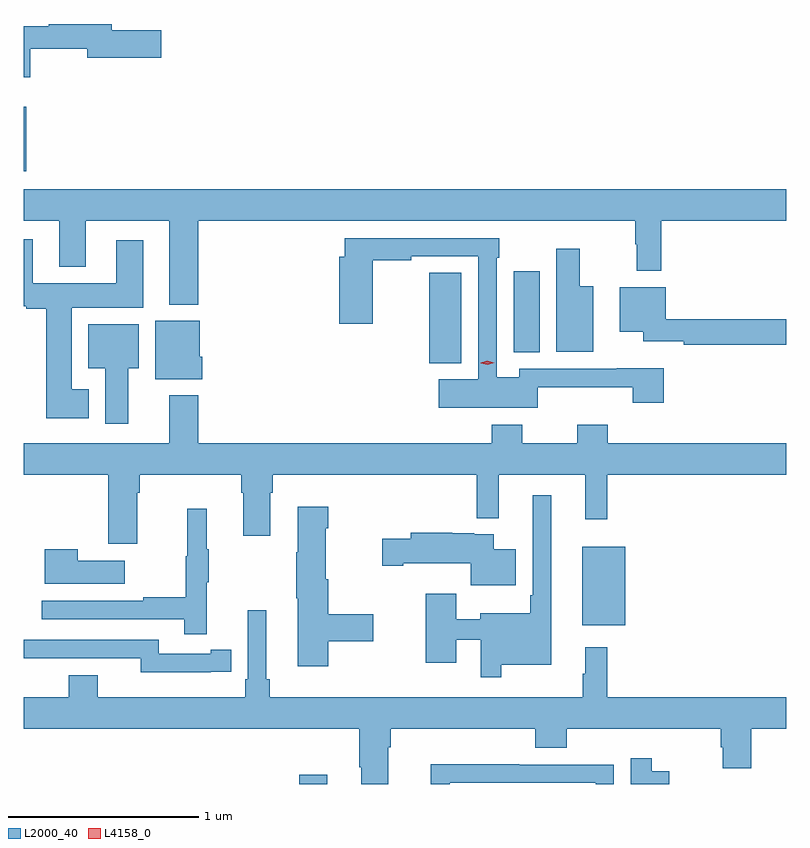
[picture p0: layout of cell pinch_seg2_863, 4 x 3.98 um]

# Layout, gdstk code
import gdstk
lib = gdstk.Library(unit=1e-6, precision=1e-09)
def R(c, l, rs):  # rectangles x0, y0, x1, y1
    for r in rs: c.add(gdstk.rectangle(r[:2], r[2:], *l))
def P(c, l, *ps):  # polygons
    for p in ps: c.add(gdstk.Polygon(p, *l))
L2000_40 = (2000, 40)
L4158_0 = (4158, 0)

pinch_seg2_863 = lib.new_cell('pinch_seg2_863')
R(pinch_seg2_863, L2000_40, [(466.599,602.058,466.747,602.107), (468.083,602.891,468.31,603.301), (467.282,604.265,467.449,604.739), (467.723,604.321,467.86,604.747), (465.154,605.271,465.167,605.608)])
P(pinch_seg2_863, L2000_40, [(465.19,605.914),(465.488,605.914),(465.488,605.867),(465.877,605.867),(465.877,606.009),(465.616,606.009),(465.616,606.043),(465.286,606.043),(465.286,606.03),(465.154,606.03),(465.154,605.765),(465.19,605.765)],
  [(466.07,605.012),(468.361,605.012),(468.361,604.889),(468.369,604.889),(468.369,604.749),(468.497,604.749),(468.497,605.012),(469.154,605.012),(469.154,605.176),(465.154,605.176),(465.154,605.012),(465.341,605.012),(465.341,604.769),(465.481,604.769),(465.481,605.012),(465.917,605.012),(465.917,604.571),(466.07,604.571)],
  [(467.85,604.139),(468.347,604.139),(468.347,604.056),(468.512,604.056),(468.512,604.237),(468.263,604.237),(468.263,604.236),(467.754,604.236),(467.754,604.192),(467.634,604.192),(467.634,604.817),(467.647,604.817),(467.647,604.92),(466.838,604.92),(466.838,604.822),(466.808,604.822),(466.808,604.47),(466.986,604.47),(466.986,604.804),(467.186,604.804),(467.186,604.824),(467.538,604.824),(467.538,604.18),(467.331,604.18),(467.331,604.031),(467.85,604.031)],
  [(465.496,604.129),(465.406,604.129),(465.406,604.556),(465.781,604.556),(465.781,604.909),(465.641,604.909),(465.641,604.684),(465.202,604.684),(465.202,604.915),(465.154,604.915),(465.154,604.562),(465.168,604.562),(465.168,604.55),(465.272,604.55),(465.272,603.977),(465.496,603.977)],
  [(468.142,604.669),(468.07,604.669),(468.07,604.864),(467.948,604.864),(467.948,604.325),(468.142,604.325)],
  [(469.154,604.496),(468.52,604.496),(468.52,604.663),(468.281,604.663),(468.281,604.43),(468.404,604.43),(468.404,604.379),(468.616,604.379),(468.616,604.36),(469.154,604.36)],
  [(466.09,604.299),(466.078,604.299),(466.078,604.486),(465.845,604.486),(465.845,604.181),(466.09,604.181)],
  [(465.703,604.238),(465.757,604.238),(465.757,604.468),(465.494,604.468),(465.494,604.238),(465.581,604.238),(465.581,603.948),(465.703,603.948)],
  [(465.751,603.584),(465.764,603.584),(465.764,603.68),(466.295,603.68),(466.295,603.584),(466.307,603.584),(466.307,603.36),(466.447,603.36),(466.447,603.584),(466.46,603.584),(466.46,603.68),(467.531,603.68),(467.531,603.452),(467.645,603.452),(467.645,603.68),(468.098,603.68),(468.098,603.447),(468.215,603.447),(468.215,603.68),(469.154,603.68),(469.154,603.844),(468.218,603.844),(468.218,603.943),(468.058,603.943),(468.058,603.844),(467.769,603.844),(467.769,603.943),(467.609,603.943),(467.609,603.844),(466.07,603.844),(466.07,604.096),(465.917,604.096),(465.917,603.844),(465.154,603.844),(465.154,603.68),(465.599,603.68),(465.599,603.318),(465.751,603.318)],
  [(467.659,602.684),(467.92,602.684),(467.92,603.571),(467.823,603.571),(467.823,603.049),(467.811,603.049),(467.811,602.953),(467.549,602.953),(467.549,602.923),(467.422,602.923),(467.422,603.055),(467.264,603.055),(467.264,602.694),(467.422,602.694),(467.422,602.814),(467.55,602.814),(467.55,602.619),(467.659,602.619)],
  [(466.751,602.806),(466.987,602.806),(466.987,602.948),(466.751,602.948),(466.751,603.131),(466.738,603.131),(466.738,603.398),(466.751,603.398),(466.751,603.511),(466.592,603.511),(466.592,603.272),(466.585,603.272),(466.585,603.031),(466.592,603.031),(466.592,602.676),(466.751,602.676)],
  [(466.115,603.115),(466.126,603.115),(466.126,603.289),(466.115,603.289),(466.115,603.502),(466.012,603.502),(466.012,603.252),(466.005,603.252),(466.005,603.038),(465.781,603.038),(465.781,603.018),(465.249,603.018),(465.249,602.922),(465.997,602.922),(465.997,602.844),(466.115,602.844)],
  [(467.734,603.289),(467.62,603.289),(467.62,603.367),(467.516,603.367),(467.516,603.372),(467.402,603.372),(467.402,603.375),(467.183,603.375),(467.183,603.345),(467.034,603.345),(467.034,603.203),(467.146,603.203),(467.146,603.215),(467.498,603.215),(467.498,603.101),(467.734,603.101)],
  [(465.685,603.229),(465.437,603.229),(465.437,603.289),(465.266,603.289),(465.266,603.107),(465.685,603.107)],
  [(467.065,602.252),(467.078,602.252),(467.078,602.348),(467.837,602.348),(467.837,602.249),(468.002,602.249),(468.002,602.348),(468.809,602.348),(468.809,602.25),(468.821,602.25),(468.821,602.14),(468.969,602.14),(468.969,602.348),(469.154,602.348),(469.154,602.512),(468.215,602.512),(468.215,602.776),(468.098,602.776),(468.098,602.636),(468.087,602.636),(468.087,602.512),(466.445,602.512),(466.445,602.608),(466.426,602.608),(466.426,602.968),(466.329,602.968),(466.329,602.608),(466.316,602.608),(466.316,602.512),(465.544,602.512),(465.544,602.629),(465.392,602.629),(465.392,602.512),(465.154,602.512),(465.154,602.348),(466.913,602.348),(466.913,602.146),(466.925,602.146),(466.925,602.058),(467.065,602.058)],
  [(466.136,602.646),(466.244,602.646),(466.244,602.762),(466.136,602.762),(466.136,602.742),(465.864,602.742),(465.864,602.814),(465.154,602.814),(465.154,602.717),(465.308,602.717),(465.308,602.718),(465.768,602.718),(465.768,602.645),(466.136,602.645)],
  [(468.54,602.124),(468.448,602.124),(468.448,602.194),(468.339,602.194),(468.339,602.058),(468.54,602.058)],
  [(467.388,602.064),(468.153,602.064),(468.153,602.058),(468.249,602.058),(468.249,602.16),(467.753,602.16),(467.753,602.162),(467.29,602.162),(467.29,602.058),(467.388,602.058)])
P(pinch_seg2_863, L4158_0, [(467.587,604.257),(467.552,604.265),(467.552,604.266),(467.552,604.266),(467.586,604.277),(467.622,604.268),(467.622,604.268),(467.622,604.268)])

lib.write_gds('pinch_seg2_863.gds')
